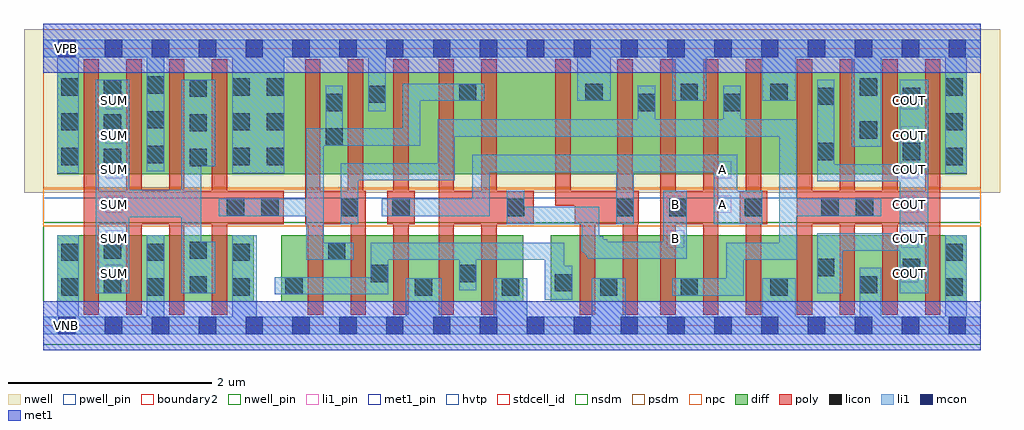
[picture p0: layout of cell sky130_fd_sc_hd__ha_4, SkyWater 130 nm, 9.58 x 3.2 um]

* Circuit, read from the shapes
.subckt sky130_fd_sc_hd__ha_4 A B COUT SUM VGND VNB VPB VPWR
XM1 SUM n1 VGND VNB sky130_fd_pr__nfet_01v8 w=0.65 l=0.15 m=4
XM2 n1 n2 n3 VNB sky130_fd_pr__nfet_01v8 w=0.65 l=0.15 m=2
XM3 VGND A n3 VNB sky130_fd_pr__nfet_01v8 w=0.65 l=0.15 m=2
XM4 n3 B VGND VNB sky130_fd_pr__nfet_01v8 w=0.65 l=0.15 m=2
XM5 n4 A VGND VNB sky130_fd_pr__nfet_01v8 w=0.65 l=0.15
XM6 n2 B n4 VNB sky130_fd_pr__nfet_01v8 w=0.65 l=0.15
XM7 n5 B n2 VNB sky130_fd_pr__nfet_01v8 w=0.65 l=0.15
XM8 VGND A n5 VNB sky130_fd_pr__nfet_01v8 w=0.65 l=0.15
XM9 COUT n2 VGND VNB sky130_fd_pr__nfet_01v8 w=0.65 l=0.15 m=4
XM10 SUM n1 VPWR VPB sky130_fd_pr__pfet_01v8_hvt w=1 l=0.15 m=4
XM11 n1 n2 VPWR VPB sky130_fd_pr__pfet_01v8_hvt w=1 l=0.15 m=2
XM12 n6 A VPWR VPB sky130_fd_pr__pfet_01v8_hvt w=1 l=0.15
XM13 n1 B n6 VPB sky130_fd_pr__pfet_01v8_hvt w=1 l=0.15
XM14 n7 B n1 VPB sky130_fd_pr__pfet_01v8_hvt w=1 l=0.15
XM15 VPWR A n7 VPB sky130_fd_pr__pfet_01v8_hvt w=1 l=0.15
XM16 n2 A VPWR VPB sky130_fd_pr__pfet_01v8_hvt w=1 l=0.15 m=2
XM17 VPWR B n2 VPB sky130_fd_pr__pfet_01v8_hvt w=1 l=0.15 m=2
XM18 COUT n2 VPWR VPB sky130_fd_pr__pfet_01v8_hvt w=1 l=0.15 m=4
.ends

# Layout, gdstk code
import gdstk
lib = gdstk.Library(unit=1e-6, precision=1e-09)
def R(c, l, rs):  # rectangles x0, y0, x1, y1
    for r in rs: c.add(gdstk.rectangle(r[:2], r[2:], *l))
def A(c, l, x, y, w, h, nx, ny, dx, dy):  # array of equal rectangles
    R(c, l, [(x+i*dx, y+j*dy, x+i*dx+w, y+j*dy+h) for i in range(nx) for j in range(ny)])
def P(c, l, *ps):  # polygons
    for p in ps: c.add(gdstk.Polygon(p, *l))
nwell_pin = (64, 16)
nwell = (64, 20)
diff = (65, 20)
poly = (66, 20)
licon = (66, 44)
li1_pin = (67, 16)
li1 = (67, 20)
mcon = (67, 44)
met1_pin = (68, 16)
met1 = (68, 20)
hvtp = (78, 44)
stdcell_id = (81, 4)
nsdm = (93, 44)
psdm = (94, 20)
npc = (95, 20)
pwell_pin = (122, 16)
boundary2 = (236, 0)

sky130_fd_sc_hd__ha_4 = lib.new_cell('sky130_fd_sc_hd__ha_4')
R(sky130_fd_sc_hd__ha_4, nwell_pin, [(0.15,2.635,0.32,2.805)])
R(sky130_fd_sc_hd__ha_4, nwell, [(-0.19,1.305,9.39,2.91)])
R(sky130_fd_sc_hd__ha_4, diff, [(0.135,0.235,2.065,0.885), (2.335,0.235,4.71,0.885), (4.98,0.235,9.065,0.885), (0.135,1.485,9.065,2.485)])
P(sky130_fd_sc_hd__ha_4, poly, [(6.625,2.615),(6.475,2.615),(6.475,1.325),(6.205,1.325),(6.205,2.615),(6.055,2.615),(6.055,0.105),(6.205,0.105),(6.205,0.995),(6.475,0.995),(6.475,0.105),(6.625,0.105)],
  [(5.845,1.325),(5.785,1.325),(5.785,2.615),(5.635,2.615),(5.635,1.325),(5.175,1.325),(5.175,2.615),(5.025,2.615),(5.025,1.175),(5.215,1.175),(5.215,0.995),(5.265,0.995),(5.265,0.105),(5.415,0.105),(5.415,0.995),(5.685,0.995),(5.685,0.105),(5.835,0.105),(5.835,0.995),(5.845,0.995)],
  [(4.815,1.325),(4.45,1.325),(4.45,2.615),(4.3,2.615),(4.3,1.325),(4.03,1.325),(4.03,2.615),(3.88,2.615),(3.88,0.105),(4.03,0.105),(4.03,0.995),(4.3,0.995),(4.3,0.105),(4.45,0.105),(4.45,0.995),(4.815,0.995)],
  [(2.36,1.325),(1.805,1.325),(1.805,2.615),(1.655,2.615),(1.655,1.325),(1.385,1.325),(1.385,2.615),(1.235,2.615),(1.235,1.325),(0.965,1.325),(0.965,2.615),(0.815,2.615),(0.815,1.325),(0.545,1.325),(0.545,2.615),(0.395,2.615),(0.395,0.105),(0.545,0.105),(0.545,0.995),(0.815,0.995),(0.815,0.105),(0.965,0.105),(0.965,0.995),(1.235,0.995),(1.235,0.105),(1.385,0.105),(1.385,0.995),(1.655,0.995),(1.655,0.105),(1.805,0.105),(1.805,0.995),(2.36,0.995)],
  [(8.805,2.615),(8.655,2.615),(8.655,1.325),(8.385,1.325),(8.385,2.615),(8.235,2.615),(8.235,1.325),(7.965,1.325),(7.965,2.615),(7.815,2.615),(7.815,1.325),(7.545,1.325),(7.545,2.615),(7.395,2.615),(7.395,0.105),(7.545,0.105),(7.545,0.995),(7.815,0.995),(7.815,0.105),(7.965,0.105),(7.965,0.995),(8.235,0.995),(8.235,0.105),(8.385,0.105),(8.385,0.995),(8.655,0.995),(8.655,0.105),(8.805,0.105)],
  [(7.105,1.325),(7.045,1.325),(7.045,2.615),(6.895,2.615),(6.895,1.325),(6.835,1.325),(6.835,0.995),(6.895,0.995),(6.895,0.105),(7.045,0.105),(7.045,0.995),(7.105,0.995)],
  [(3.645,1.325),(3.585,1.325),(3.585,2.615),(3.435,2.615),(3.435,1.325),(3.375,1.325),(3.375,0.995),(3.435,0.995),(3.435,0.105),(3.585,0.105),(3.585,0.995),(3.645,0.995)],
  [(3.165,1.325),(3.14,1.325),(3.14,2.615),(2.99,2.615),(2.99,1.325),(2.72,1.325),(2.72,2.615),(2.57,2.615),(2.57,0.995),(2.595,0.995),(2.595,0.105),(2.745,0.105),(2.745,0.995),(3.015,0.995),(3.015,0.105),(3.165,0.105)])
A(sky130_fd_sc_hd__ha_4, licon, 0.175, 0.295, 0.17, 0.17, 3, 2, 0.84, 0.34)
A(sky130_fd_sc_hd__ha_4, licon, 0.595, 1.565, 0.17, 0.17, 1, 3, 0, 0.34)
A(sky130_fd_sc_hd__ha_4, licon, 1.435, 1.565, 0.17, 0.17, 1, 3, 0, 0.34)
A(sky130_fd_sc_hd__ha_4, licon, 0.175, 1.575, 0.17, 0.17, 1, 3, 0, 0.34)
A(sky130_fd_sc_hd__ha_4, licon, 1.855, 1.575, 0.17, 0.17, 1, 3, 0, 0.34)
A(sky130_fd_sc_hd__ha_4, licon, 2.195, 1.575, 0.17, 0.17, 1, 3, 0, 0.34)
A(sky130_fd_sc_hd__ha_4, licon, 8.855, 1.575, 0.17, 0.17, 1, 3, 0, 0.34)
A(sky130_fd_sc_hd__ha_4, licon, 1.015, 1.595, 0.17, 0.17, 1, 3, 0, 0.34)
R(sky130_fd_sc_hd__ha_4, licon, [(3.645,0.295,3.815,0.465), (4.5,0.295,4.67,0.465), (5.465,0.295,5.635,0.465), (6.255,0.295,6.425,0.465), (7.135,0.295,7.305,0.465), (8.855,0.295,9.025,0.465), (2.375,0.305,2.545,0.475), (0.595,0.315,0.765,0.485), (1.435,0.315,1.605,0.485), (8.015,0.315,8.185,0.485), (5.02,0.335,5.19,0.505), (3.215,0.425,3.385,0.595), (4.08,0.425,4.25,0.595), (7.595,0.485,7.765,0.655), (8.435,0.485,8.605,0.655), (8.855,0.635,9.025,0.805), (2.795,0.645,2.965,0.815), (0.595,0.655,0.765,0.825), (1.435,0.655,1.605,0.825), (1.8,1.075,1.97,1.245), (2.14,1.075,2.31,1.245), (2.92,1.075,3.09,1.245), (3.425,1.075,3.595,1.245), (4.55,1.075,4.72,1.245), (5.625,1.075,5.795,1.245), (6.145,1.075,6.315,1.245), (6.885,1.075,7.055,1.245), (7.635,1.075,7.805,1.245), (7.975,1.075,8.145,1.245), (7.595,1.625,7.765,1.795), (8.435,1.625,8.605,1.795), (2.77,1.765,2.94,1.935), (8.015,1.835,8.185,2.005), (2.77,2.105,2.94,2.275), (5.835,2.105,6.005,2.275), (6.675,2.105,6.845,2.275), (7.595,2.165,7.765,2.335), (8.435,2.165,8.605,2.335), (3.19,2.185,3.36,2.355), (4.08,2.205,4.25,2.375), (5.32,2.205,5.49,2.375), (6.255,2.205,6.425,2.375), (7.135,2.205,7.305,2.375), (8.015,2.255,8.185,2.425)])
A(sky130_fd_sc_hd__ha_4, li1_pin, 0.61, 0.425, 0.17, 0.17, 1, 6, 0, 0.34)
A(sky130_fd_sc_hd__ha_4, li1_pin, 8.42, 0.425, 0.17, 0.17, 1, 6, 0, 0.34)
R(sky130_fd_sc_hd__ha_4, li1_pin, [(6.12,0.765,6.29,0.935), (6.12,1.105,6.29,1.275), (6.58,1.105,6.75,1.275), (6.58,1.445,6.75,1.615)])
P(sky130_fd_sc_hd__ha_4, li1, [(8.685,2.415),(8.405,2.415),(8.405,1.585),(7.765,1.585),(7.765,2.415),(7.595,2.415),(7.595,1.415),(8.405,1.415),(8.405,0.905),(7.595,0.905),(7.595,0.315),(7.845,0.315),(7.845,0.735),(8.405,0.735),(8.405,0.315),(8.685,0.315)],
  [(9.2,0.085),(9.065,0.085),(9.065,0.885),(8.855,0.885),(8.855,0.085),(8.225,0.085),(8.225,0.565),(8.015,0.565),(8.015,0.085),(7.385,0.085),(7.385,0.465),(7.055,0.465),(7.055,0.085),(5.715,0.085),(5.715,0.465),(5.385,0.465),(5.385,0.085),(4.75,0.085),(4.75,0.465),(4.42,0.465),(4.42,0.085),(3.91,0.085),(3.91,0.465),(3.555,0.465),(3.555,0.085),(2.095,0.085),(2.095,0.885),(1.855,0.885),(1.855,0.085),(1.185,0.085),(1.185,0.885),(1.015,0.885),(1.015,0.085),(0.345,0.085),(0.345,0.885),(0.135,0.885),(0.135,0.085),(0,0.085),(0,-0.085),(9.2,-0.085)],
  [(7.055,1.325),(6.81,1.325),(6.81,1.675),(4.21,1.675),(4.21,1.245),(3.32,1.245),(3.32,1.075),(4.38,1.075),(4.38,1.505),(5.625,1.505),(5.625,0.995),(5.795,0.995),(5.795,1.505),(6.58,1.505),(6.58,0.995),(7.055,0.995)],
  [(6.315,1.325),(6.085,1.325),(6.085,0.825),(5.535,0.825),(5.535,0.845),(5.495,0.845),(5.495,0.875),(5.455,0.875),(5.455,1.165),(4.72,1.165),(4.72,1.325),(4.55,1.325),(4.55,0.995),(5.285,0.995),(5.285,0.73),(5.295,0.73),(5.295,0.72),(5.31,0.72),(5.31,0.71),(5.32,0.71),(5.32,0.695),(5.335,0.695),(5.335,0.675),(5.345,0.675),(5.345,0.655),(6.315,0.655)],
  [(5.19,0.585),(5.115,0.585),(5.115,0.815),(3.215,0.815),(3.215,0.475),(2.27,0.475),(2.27,0.305),(3.385,0.305),(3.385,0.645),(4.08,0.645),(4.08,0.345),(4.25,0.345),(4.25,0.645),(4.92,0.645),(4.92,0.255),(5.19,0.255)],
  [(4.33,2.375),(3.53,2.375),(3.53,1.935),(2.94,1.935),(2.94,2.355),(2.77,2.355),(2.77,1.935),(2.58,1.935),(2.58,1.245),(1.72,1.245),(1.72,1.075),(2.58,1.075),(2.58,0.645),(3.045,0.645),(3.045,0.815),(2.75,0.815),(2.75,1.765),(3.7,1.765),(3.7,2.205),(4.33,2.205)],
  [(8.225,1.245),(7.395,1.245),(7.395,2.025),(6.845,2.025),(6.845,2.355),(6.675,2.355),(6.675,2.025),(6.005,2.025),(6.005,2.355),(5.835,2.355),(5.835,2.025),(3.87,2.025),(3.87,1.595),(2.92,1.595),(2.92,0.995),(3.09,0.995),(3.09,1.425),(4.04,1.425),(4.04,1.855),(7.225,1.855),(7.225,0.815),(6.705,0.815),(6.705,0.465),(6.175,0.465),(6.175,0.295),(6.875,0.295),(6.875,0.645),(7.395,0.645),(7.395,1.075),(8.225,1.075)],
  [(1.685,0.825),(1.55,0.825),(1.55,1.565),(1.685,1.565),(1.685,2.415),(1.355,2.415),(1.355,1.335),(0.845,1.335),(0.845,2.415),(0.515,2.415),(0.515,0.315),(0.845,0.315),(0.845,1.065),(1.355,1.065),(1.355,0.315),(1.685,0.315)],
  [(9.2,2.805),(0,2.805),(0,2.635),(0.135,2.635),(0.135,1.495),(0.345,1.495),(0.345,2.635),(1.015,2.635),(1.015,1.515),(1.185,1.515),(1.185,2.635),(1.855,2.635),(1.855,1.495),(2.365,1.495),(2.365,2.635),(3.19,2.635),(3.19,2.105),(3.36,2.105),(3.36,2.635),(5.24,2.635),(5.24,2.205),(5.57,2.205),(5.57,2.635),(6.175,2.635),(6.175,2.205),(6.505,2.205),(6.505,2.635),(7.055,2.635),(7.055,2.205),(7.385,2.205),(7.385,2.635),(7.935,2.635),(7.935,1.755),(8.225,1.755),(8.225,2.635),(8.855,2.635),(8.855,1.495),(9.065,1.495),(9.065,2.635),(9.2,2.635)])
A(sky130_fd_sc_hd__ha_4, mcon, 0.145, -0.085, 0.17, 0.17, 20, 2, 0.46, 2.72)
R(sky130_fd_sc_hd__ha_4, met1_pin, [(0.15,-0.085,0.32,0.085), (0.15,2.635,0.32,2.805)])
R(sky130_fd_sc_hd__ha_4, hvtp, [(0,1.25,9.2,2.72)])
R(sky130_fd_sc_hd__ha_4, stdcell_id, [(0,0,9.2,2.72)])
R(sky130_fd_sc_hd__ha_4, nsdm, [(0,-0.19,9.2,1.015)])
R(sky130_fd_sc_hd__ha_4, psdm, [(0,1.355,9.2,2.91)])
R(sky130_fd_sc_hd__ha_4, npc, [(0,0.975,9.2,1.345)])
R(sky130_fd_sc_hd__ha_4, pwell_pin, [(0.15,-0.085,0.32,0.085)])
R(sky130_fd_sc_hd__ha_4, boundary2, [(0,0,9.2,2.72)])
sky130_fd_sc_hd__ha_4.add(gdstk.FlexPath([(0,2.72),(9.2,2.72)], 0.48, ends="flush", simple_path=True, layer=68, datatype=20))  # met1
sky130_fd_sc_hd__ha_4.add(gdstk.FlexPath([(0,0),(9.2,0)], 0.48, ends="flush", simple_path=True, layer=68, datatype=20))  # met1
sky130_fd_sc_hd__ha_4.add(gdstk.Label('VNB', (0.23,0), layer=64, texttype=59))
sky130_fd_sc_hd__ha_4.add(gdstk.Label('VPB', (0.23,2.72), layer=64, texttype=5))
sky130_fd_sc_hd__ha_4.add(gdstk.Label('VGND', (0.23,0), layer=68, texttype=5))
sky130_fd_sc_hd__ha_4.add(gdstk.Label('VPWR', (0.23,2.72), layer=68, texttype=5))
sky130_fd_sc_hd__ha_4.add(gdstk.Label('A', (6.665,1.19), layer=67, texttype=5))
sky130_fd_sc_hd__ha_4.add(gdstk.Label('COUT', (8.505,1.87), layer=67, texttype=5))
sky130_fd_sc_hd__ha_4.add(gdstk.Label('COUT', (8.505,0.51), layer=67, texttype=5))
sky130_fd_sc_hd__ha_4.add(gdstk.Label('SUM', (0.695,0.51), layer=67, texttype=5))
sky130_fd_sc_hd__ha_4.add(gdstk.Label('SUM', (0.695,0.85), layer=67, texttype=5))
sky130_fd_sc_hd__ha_4.add(gdstk.Label('SUM', (0.695,1.19), layer=67, texttype=5))
sky130_fd_sc_hd__ha_4.add(gdstk.Label('SUM', (0.695,1.53), layer=67, texttype=5))
sky130_fd_sc_hd__ha_4.add(gdstk.Label('SUM', (0.695,1.87), layer=67, texttype=5))
sky130_fd_sc_hd__ha_4.add(gdstk.Label('SUM', (0.695,2.21), layer=67, texttype=5))
sky130_fd_sc_hd__ha_4.add(gdstk.Label('COUT', (8.505,2.21), layer=67, texttype=5))
sky130_fd_sc_hd__ha_4.add(gdstk.Label('A', (6.665,1.53), layer=67, texttype=5))
sky130_fd_sc_hd__ha_4.add(gdstk.Label('B', (6.205,1.19), layer=67, texttype=5))
sky130_fd_sc_hd__ha_4.add(gdstk.Label('B', (6.205,0.85), layer=67, texttype=5))
sky130_fd_sc_hd__ha_4.add(gdstk.Label('COUT', (8.505,0.85), layer=67, texttype=5))
sky130_fd_sc_hd__ha_4.add(gdstk.Label('COUT', (8.505,1.19), layer=67, texttype=5))
sky130_fd_sc_hd__ha_4.add(gdstk.Label('COUT', (8.505,1.53), layer=67, texttype=5))
sky130_fd_sc_hd__ha_4.add(gdstk.Label('ha_4', (0,0), layer=83, texttype=44))

lib.write_gds('sky130_fd_sc_hd__ha_4.gds')
